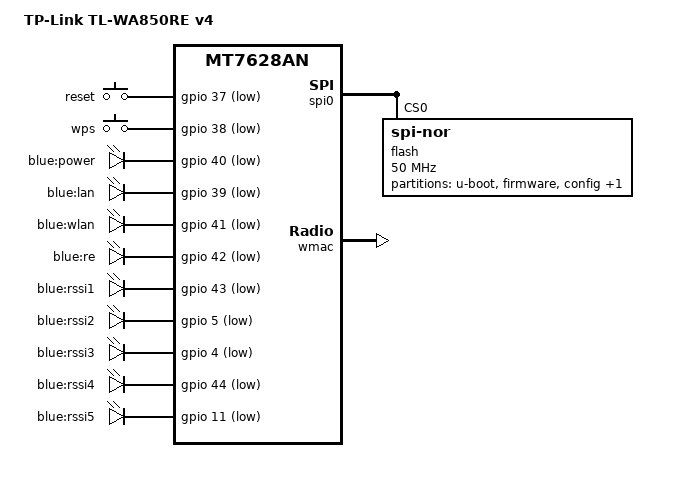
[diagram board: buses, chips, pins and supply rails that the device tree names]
// SPDX-License-Identifier: GPL-2.0-or-later OR MIT

#include "mt7628an.dtsi"

#include <dt-bindings/gpio/gpio.h>
#include <dt-bindings/input/input.h>

/ {
	compatible = "tplink,tl-wa850re-v4", "mediatek,mt7628an-soc";
	model = "TP-Link TL-WA850RE v4";

	aliases {
		led-boot = &led_power;
		led-failsafe = &led_power;
		led-running = &led_power;
		led-upgrade = &led_power;
		label-mac-device = &ethernet;
	};

	keys {
		compatible = "gpio-keys";

		reset {
			label = "reset";
			gpios = <&gpio 37 GPIO_ACTIVE_LOW>;
			linux,code = <KEY_RESTART>;
		};

		wps {
			label = "wps";
			gpios = <&gpio 38 GPIO_ACTIVE_LOW>;
			linux,code = <KEY_WPS_BUTTON>;
		};
	};

	leds {
		compatible = "gpio-leds";

		led_power: power {
			label = "blue:power";
			gpios = <&gpio 40 GPIO_ACTIVE_LOW>;
		};

		lan {
			label = "blue:lan";
			gpios = <&gpio 39 GPIO_ACTIVE_LOW>;
		};

		wlan {
			label = "blue:wlan";
			gpios = <&gpio 41 GPIO_ACTIVE_LOW>;
			linux,default-trigger = "phy0tpt";
		};

		range_extender {
			label = "blue:re";
			gpios = <&gpio 42 GPIO_ACTIVE_LOW>;
		};

		rssi1 {
			label = "blue:rssi1";
			gpios = <&gpio 43 GPIO_ACTIVE_LOW>;
		};

		rssi2 {
			label = "blue:rssi2";
			gpios = <&gpio 5 GPIO_ACTIVE_LOW>;
		};

		rssi3 {
			label = "blue:rssi3";
			gpios = <&gpio 4 GPIO_ACTIVE_LOW>;
		};

		rssi4 {
			label = "blue:rssi4";
			gpios = <&gpio 44 GPIO_ACTIVE_LOW>;
		};

		rssi5 {
			label = "blue:rssi5";
			gpios = <&gpio 11 GPIO_ACTIVE_LOW>;
		};
	};
};

&spi0 {
	status = "okay";

	flash@0 {
		compatible = "jedec,spi-nor";
		reg = <0>;
		spi-max-frequency = <50000000>;

		partitions {
			compatible = "fixed-partitions";
			#address-cells = <1>;
			#size-cells = <1>;

			partition@0 {
				label = "u-boot";
				reg = <0x0 0x20000>;
				read-only;
			};

			partition@20000 {
				compatible = "tplink,firmware";
				label = "firmware";
				reg = <0x20000 0x3a0000>;
			};

			config: partition@3c0000 {
				label = "config";
				reg = <0x3c0000 0x30000>;
				read-only;
			};

			radio: partition@3f0000 {
				label = "radio";
				reg = <0x3f0000 0x10000>;
				read-only;
			};
		};
	};
};

&ehci {
	status = "disabled";
};

&ohci {
	status = "disabled";
};

&wmac {
	status = "okay";

	mediatek,mtd-eeprom = <&radio 0x0>;
	mtd-mac-address = <&config 0x4008>;
	mtd-mac-address-increment = <1>;
};

&ethernet {
	mtd-mac-address = <&config 0x4008>;
};

&state_default {
	gpio {
		groups = "i2c", "refclk", "wdt", "p4led_an", "p3led_an", "p2led_an", "p1led_an", "p0led_an", "wled_an";
		function = "gpio";
	};
};
